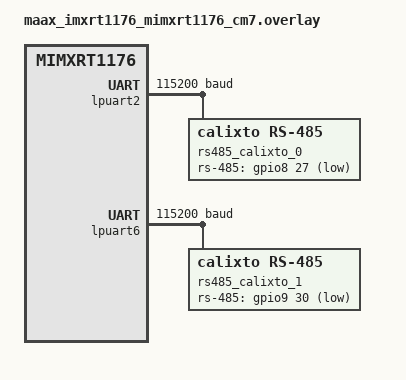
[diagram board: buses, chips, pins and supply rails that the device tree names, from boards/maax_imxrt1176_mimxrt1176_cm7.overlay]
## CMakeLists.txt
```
# SPDX-License-Identifier: Apache-2.0

cmake_minimum_required(VERSION 3.20.0)

find_package(Zephyr REQUIRED HINTS $ENV{ZEPHYR_BASE})
project(rs485_test)

target_sources(app PRIVATE src/main.c)
```

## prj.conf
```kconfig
CONFIG_GPIO=y
CONFIG_LOG=y
CONFIG_LOG_MODE_IMMEDIATE=y
CONFIG_RS_485=y
CONFIG_RS_485_LOG_LEVEL=4
CONFIG_UART_INTERRUPT_DRIVEN=y
CONFIG_SERIAL=y
```

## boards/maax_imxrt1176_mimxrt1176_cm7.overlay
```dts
&lpuart2 {
    status = "okay";
    current-speed = <115200>;   

    rs485_calixto_0: rs485_calixto {
        compatible = "calixto,rs-485";
        status = "okay";
        rs-485-gpio = <&gpio8 27 GPIO_ACTIVE_LOW>;
    };
};

&lpuart6 {
    status = "okay";
    current-speed = <115200>;   

    rs485_calixto_1: rs485_calixto {
        compatible = "calixto,rs-485";
        status = "okay";
        rs-485-gpio = <&gpio9 30 GPIO_ACTIVE_LOW>;
    };
};
```

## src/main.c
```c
#include <zephyr/kernel.h>
#include <zephyr/device.h>

#include <zephyr/devicetree.h>
#include <drivers/rs_485.h>

#define RS485_NODE DT_NODELABEL(rs485_calixto_0)
#define RS485_NODE1 DT_NODELABEL(rs485_calixto_1)

void user_uart_callback(const struct device *dev, void *user_data)
{
    
    if (uart_irq_rx_ready(dev)) {
        uint8_t data;
        while (uart_fifo_read(dev, &data, 1) == 1) {
            printk("Received: %c \n", data);
        }
    }

}

int main(void)
{
    const struct device *rs485_dev = DEVICE_DT_GET(RS485_NODE);
    const struct device *rs485_dev1 = DEVICE_DT_GET(RS485_NODE1);
    
    if (!device_is_ready(rs485_dev)) {
        printk("RS-485 device not ready\n");
        return 1;
    }
    if (!device_is_ready(rs485_dev1)) {
        printk("RS-485 device 1 not ready\n");
        return 1;
    }
    printk("RS-485 devices ready\n");


    int ret = rs485_callback_register(rs485_dev, user_uart_callback, NULL);
    if(ret < 0) {
		if (ret == -ENOTSUP) {
			printk("Interrupt-driven UART API support not enabled\n");
		} else if (ret == -ENOSYS) {
			printk("UART device does not support interrupt-driven API\n");
		} else {
			printk("Error setting UART callback: %d\n", ret);
		}
		return 0;
    }
    ret = rs485_callback_register(rs485_dev1, user_uart_callback, NULL);
    if(ret < 0) {
		if (ret == -ENOTSUP) {
			printk("Interrupt-driven UART API support not enabled\n");
		} else if (ret == -ENOSYS) {
			printk("UART device does not support interrupt-driven API\n");
		} else {
			printk("Error setting UART callback: %d\n", ret);
		}
		return 0;
    }

    const uint8_t data[] = "Hello RS-485 from uart2!";
    ret = rs485_transmit(rs485_dev, data, sizeof(data));
    if (ret < 0) {
        printk("Failed to transmit data over RS-485: %d\n", ret);
        return 1;
    }

    const uint8_t data2[] = "Hello RS-485 from uart6!";

    ret = rs485_transmit(rs485_dev1, data2, sizeof(data2));
    if (ret < 0) {
        printk("Failed to transmit data over RS-485: %d\n", ret);
        return 1;
    }

    while(1){
        ret = rs485_transmit(rs485_dev, data, sizeof(data));
        if (ret < 0) {
            printk("Failed to transmit data over RS-485: %d\n", ret);
        }   
        k_msleep(5000);
    }

	return 0;
}
```
